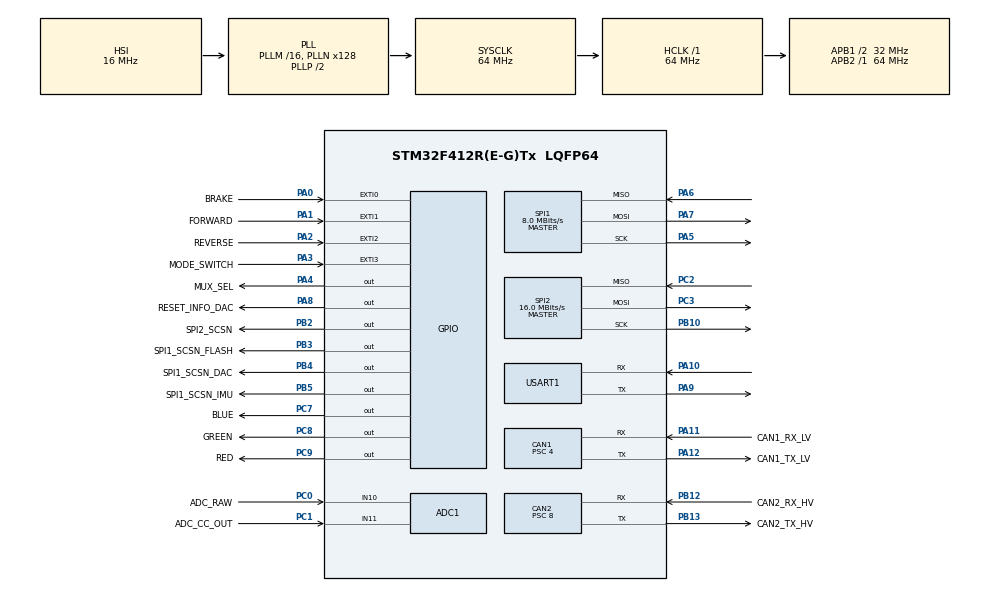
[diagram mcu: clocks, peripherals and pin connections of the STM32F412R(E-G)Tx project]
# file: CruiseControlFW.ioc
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ADC1.Channel-2\#ChannelRegularConversion=ADC_CHANNEL_10
ADC1.Channel-3\#ChannelRegularConversion=ADC_CHANNEL_11
ADC1.ContinuousConvMode=DISABLE
ADC1.EnableAnalogWatchDog=false
ADC1.InjNumberOfConversion=0
ADC1.NbrOfConversion=2
ADC1.NbrOfConversionFlag=1
ADC1.Rank-2\#ChannelRegularConversion=1
ADC1.Rank-3\#ChannelRegularConversion=2
ADC1.SamplingTime-2\#ChannelRegularConversion=ADC_SAMPLETIME_144CYCLES
ADC1.SamplingTime-3\#ChannelRegularConversion=ADC_SAMPLETIME_144CYCLES
ADC1.ScanConvMode=ENABLE
ADC1.master=1
CAN1.BS1=CAN_BS1_13TQ
CAN1.BS2=CAN_BS2_2TQ
CAN1.CalculateBaudRate=500000
CAN1.CalculateTimeBit=2000
CAN1.CalculateTimeQuantum=125.0
CAN1.Prescaler=4
CAN2.BS1=CAN_BS1_13TQ
CAN2.BS2=CAN_BS2_2TQ
CAN2.CalculateBaudRate=250000
CAN2.CalculateTimeBit=4000
CAN2.CalculateTimeQuantum=250.0
CAN2.Prescaler=8
Dma.Request0=USART1_RX
Dma.USART1_RX.0.Direction=DMA_PERIPH_TO_MEMORY
Dma.USART1_RX.0.FIFOMode=DMA_FIFOMODE_DISABLE
Dma.USART1_RX.0.Instance=DMA2_Stream2
Dma.USART1_RX.0.MemDataAlignment=DMA_MDATAALIGN_BYTE
Dma.USART1_RX.0.MemInc=DMA_MINC_ENABLE
Dma.USART1_RX.0.Mode=DMA_CIRCULAR
Dma.USART1_RX.0.PeriphDataAlignment=DMA_PDATAALIGN_BYTE
Dma.USART1_RX.0.PeriphInc=DMA_PINC_DISABLE
Dma.USART1_RX.0.Priority=DMA_PRIORITY_LOW
IWDG.Reload=1999
Mcu.Family=STM32F4
Mcu.Name=STM32F412R(E-G)Tx
Mcu.Package=LQFP64
NVIC.CAN1_RX0_IRQn=true\:2\:0\:true\:false\:true\:true\:true\:true
NVIC.CAN1_RX1_IRQn=true\:2\:0\:true\:false\:true\:true\:true\:true
NVIC.CAN2_RX0_IRQn=true\:2\:0\:true\:false\:true\:true\:true\:true
NVIC.CAN2_RX1_IRQn=true\:2\:0\:true\:false\:true\:true\:true\:true
NVIC.DMA2_Stream2_IRQn=true\:3\:0\:true\:false\:true\:false\:true\:true
NVIC.EXTI0_IRQn=true\:0\:0\:true\:false\:true\:true\:true\:true
NVIC.EXTI1_IRQn=true\:1\:0\:true\:false\:true\:true\:true\:true
NVIC.EXTI2_IRQn=true\:1\:0\:true\:false\:true\:true\:true\:true
NVIC.PriorityGroup=NVIC_PRIORITYGROUP_4
NVIC.USART1_IRQn=true\:3\:0\:true\:false\:true\:true\:true\:true
PA0.GPIO_Label=BRAKE
PA0.GPIO_ModeDefaultEXTI=GPIO_MODE_IT_RISING
PA0.Signal=GPXTI0
PA1.GPIO_Label=FORWARD
PA1.GPIO_ModeDefaultEXTI=GPIO_MODE_IT_FALLING
PA1.Signal=GPXTI1
PA10.Mode=Asynchronous
PA10.Signal=USART1_RX
PA11.GPIO_Label=CAN1_RX_LV
PA11.Mode=CAN_Activate
PA11.Signal=CAN1_RX
PA12.GPIO_Label=CAN1_TX_LV
PA12.Mode=CAN_Activate
PA12.Signal=CAN1_TX
PA13.Mode=Serial_Wire
PA13.Signal=SYS_JTMS-SWDIO
PA14.Mode=Serial_Wire
PA14.Signal=SYS_JTCK-SWCLK
PA2.GPIO_Label=REVERSE
PA2.GPIO_ModeDefaultEXTI=GPIO_MODE_IT_RISING
PA2.Signal=GPXTI2
PA3.GPIO_Label=MODE_SWITCH
PA3.GPIO_ModeDefaultEXTI=GPIO_MODE_IT_RISING
PA3.Signal=GPXTI3
PA4.GPIO_Label=MUX_SEL
PA4.Signal=GPIO_Output
PA5.GPIO_Speed=GPIO_SPEED_FREQ_MEDIUM
PA5.Mode=Full_Duplex_Master
PA5.Signal=SPI1_SCK
PA6.GPIO_Speed=GPIO_SPEED_FREQ_MEDIUM
PA6.Mode=Full_Duplex_Master
PA6.Signal=SPI1_MISO
PA7.GPIO_Speed=GPIO_SPEED_FREQ_MEDIUM
PA7.Mode=Full_Duplex_Master
PA7.Signal=SPI1_MOSI
PA8.GPIO_Label=RESET_INFO_DAC
PA8.GPIO_Speed=GPIO_SPEED_FREQ_LOW
PA8.PinState=GPIO_PIN_SET
PA8.Signal=GPIO_Output
PA9.Mode=Asynchronous
PA9.Signal=USART1_TX
PB10.GPIO_Speed=GPIO_SPEED_FREQ_MEDIUM
PB10.Mode=Full_Duplex_Master
PB10.Signal=SPI2_SCK
PB12.GPIO_Label=CAN2_RX_HV
PB12.Mode=CAN_Activate
PB12.Signal=CAN2_RX
PB13.GPIO_Label=CAN2_TX_HV
PB13.Mode=CAN_Activate
PB13.Signal=CAN2_TX
PB2.GPIO_Label=SPI2_SCSN
PB2.GPIO_Speed=GPIO_SPEED_FREQ_MEDIUM
PB2.Signal=GPIO_Output
PB3.GPIO_Label=SPI1_SCSN_FLASH
PB3.GPIO_Speed=GPIO_SPEED_FREQ_MEDIUM
PB3.PinState=GPIO_PIN_SET
PB3.Signal=GPIO_Output
PB4.GPIO_Label=SPI1_SCSN_DAC
PB4.GPIO_Speed=GPIO_SPEED_FREQ_MEDIUM
PB4.PinState=GPIO_PIN_SET
PB4.Signal=GPIO_Output
PB5.GPIO_Label=SPI1_SCSN_IMU
PB5.GPIO_Speed=GPIO_SPEED_FREQ_MEDIUM
PB5.PinState=GPIO_PIN_SET
PB5.Signal=GPIO_Output
PC0.GPIO_Label=ADC_RAW
PC0.Signal=ADCx_IN10
PC1.GPIO_Label=ADC_CC_OUT
PC1.Signal=ADCx_IN11
PC2.GPIO_Speed=GPIO_SPEED_FREQ_MEDIUM
PC2.Mode=Full_Duplex_Master
PC2.Signal=SPI2_MISO
PC3.GPIO_Speed=GPIO_SPEED_FREQ_MEDIUM
PC3.Mode=Full_Duplex_Master
PC3.Signal=SPI2_MOSI
PC7.GPIO_Label=BLUE
PC7.PinState=GPIO_PIN_SET
PC7.Signal=GPIO_Output
PC8.GPIO_Label=GREEN
PC8.PinState=GPIO_PIN_SET
PC8.Signal=GPIO_Output
PC9.GPIO_Label=RED
PC9.PinState=GPIO_PIN_SET
PC9.Signal=GPIO_Output
ProjectManager.HeapSize=0x200
ProjectManager.StackSize=0x400
ProjectManager.TargetToolchain=STM32CubeIDE
RCC.AHBFreq_Value=64000000
RCC.APB1CLKDivider=RCC_HCLK_DIV2
RCC.APB1Freq_Value=32000000
RCC.APB1TimFreq_Value=64000000
RCC.APB2Freq_Value=64000000
RCC.APB2TimFreq_Value=64000000
RCC.CortexFreq_Value=64000000
RCC.HCLKFreq_Value=64000000
RCC.PLLN=128
RCC.SYSCLKFreq_VALUE=64000000
RCC.SYSCLKSource=RCC_SYSCLKSOURCE_PLLCLK
RCC.USBFreq_Value=64000000
RCC.VCOOutputFreq_Value=128000000
SH.ADCx_IN10.0=ADC1_IN10,IN10
SH.ADCx_IN11.0=ADC1_IN11,IN11
SPI1.BaudRatePrescaler=SPI_BAUDRATEPRESCALER_8
SPI1.CLKPolarity=SPI_POLARITY_LOW
SPI1.CalculateBaudRate=8.0 MBits/s
SPI1.Direction=SPI_DIRECTION_2LINES
SPI1.Mode=SPI_MODE_MASTER
SPI1.VirtualType=VM_MASTER
SPI2.BaudRatePrescaler=SPI_BAUDRATEPRESCALER_2
SPI2.CLKPhase=SPI_PHASE_2EDGE
SPI2.CalculateBaudRate=16.0 MBits/s
SPI2.Direction=SPI_DIRECTION_2LINES
SPI2.Mode=SPI_MODE_MASTER
SPI2.VirtualType=VM_MASTER
TIM2.Prescaler=63
USART1.VirtualMode=VM_ASYNC
VP_IWDG_VS_IWDG.Mode=IWDG_Activate
VP_TIM2_VS_ClockSourceINT.Mode=Internal
board=custom

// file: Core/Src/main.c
/* USER CODE BEGIN Header */
/**
  ******************************************************************************
  * @file           : main.c
  * @brief          : Main program body
  ******************************************************************************
  * @attention
  *
  * Copyright (c) 2026 STMicroelectronics.
  * All rights reserved.
  *
  * This software is licensed under terms that can be found in the LICENSE file
  * in the root directory of this software component.
  * If no LICENSE file comes with this software, it is provided AS-IS.
  *
  ******************************************************************************
  */
/* USER CODE END Header */
#include "main.h"

/* USER CODE BEGIN Includes */
#include "cc_state.h"
#include "cc_inputs.h"
#include "cc_control.h"
#include "sys_uart.h"
#include "sys_can.h"
#include "can_dispatch.h"
#include "sys_flash.h"
#include "sys_cc_dac.h"
#include "sys_info_dac.h"
#include "sys_imu.h"
#include "sys_time.h"
#include "sys_wdg.h"
#include "cli.h"
#include "vehicle_data.h"
#include "cc_gradient.h"
#include "po_optimizer.h"

/* USER CODE END Includes */

/* USER CODE BEGIN PTD */

/* Init progress, readable in the debugger. A halt leaves the failing stage in initStage. */
typedef enum {
  STAGE_PERIPHERALS = 0,   /* Also the value if a CubeMX peripheral init failed. */
  STAGE_UART,
  STAGE_CAN,
  STAGE_FLASH,
  STAGE_CC_DAC,
  STAGE_INFO_DAC,
  STAGE_IMU,
  STAGE_CLI,
  STAGE_CC_INPUTS,
  STAGE_RUNNING            /* All inits passed; the main loop stays on this value. */
} initStage_t;

/* USER CODE END PTD */

/* USER CODE BEGIN PD */

#define INIT_STEP(stage, call) \
  do { initStage = (stage); sys_feedWdg(); if (!(call)) { Error_Handler(); } } while (0)

/* USER CODE END PD */

ADC_HandleTypeDef hadc1;

CAN_HandleTypeDef hcan1;
CAN_HandleTypeDef hcan2;

IWDG_HandleTypeDef hiwdg;

SPI_HandleTypeDef hspi1;
SPI_HandleTypeDef hspi2;

TIM_HandleTypeDef htim2;

UART_HandleTypeDef huart1;
DMA_HandleTypeDef hdma_usart1_rx;

/* USER CODE BEGIN PV */

volatile initStage_t initStage = STAGE_PERIPHERALS;

/* TRUE if the last reset was the watchdog. */
volatile uint8_t resetByWatchdog = FALSE;

/* Written only from the main loop. */
static vehicle_data_t vehicle_data;

/* UTC clock, anchored by GPS time. Declared extern in sys_time.h. */
wall_clock_t wall_clock;

/* Active-high: BRAKE, FORWARD, REVERSE and MODE_SWITCH (HI = pressed). */
static const cc_inputs_config_t cc_input_config = {
    .mode_active_level = CC_INPUT_ACTIVE_HIGH,
    .brake_active_level = CC_INPUT_ACTIVE_HIGH,
    .forward_active_level = CC_INPUT_ACTIVE_HIGH,
    .reverse_active_level = CC_INPUT_ACTIVE_HIGH,
    .forward_rule = CC_FORWARD_REQUIRED,
    .mode_button_enabled = TRUE,
    .mode_debounce_ms = 20U
};

/* USER CODE END PV */

void SystemClock_Config(void);
static void MX_GPIO_Init(void);
static void MX_DMA_Init(void);
static void MX_CAN1_Init(void);
static void MX_CAN2_Init(void);
static void MX_SPI1_Init(void);
static void MX_SPI2_Init(void);
static void MX_TIM2_Init(void);
static void MX_USART1_UART_Init(void);
static void MX_ADC1_Init(void);
static void MX_IWDG_Init(void);

int main(void)
{

  /* MCU Configuration--------------------------------------------------------*/

  /* Reset of all peripherals, Initializes the Flash interface and the Systick. */
  HAL_Init();

  /* USER CODE BEGIN Init */
  resetByWatchdog = __HAL_RCC_GET_FLAG(RCC_FLAG_IWDGRST) ? TRUE : FALSE;
  __HAL_RCC_CLEAR_RESET_FLAGS();
  /* USER CODE END Init */

  /* Configure the system clock */
  SystemClock_Config();

  /* USER CODE BEGIN SysInit */
  /* Stop the watchdog counting while halted in the debugger. */
  __HAL_DBGMCU_FREEZE_IWDG();
  /* USER CODE END SysInit */

  /* Initialize all configured peripherals */
  MX_GPIO_Init();
  MX_DMA_Init();
  MX_CAN1_Init();
  MX_CAN2_Init();
  MX_SPI1_Init();
  MX_SPI2_Init();
  MX_TIM2_Init();
  MX_USART1_UART_Init();
  MX_ADC1_Init();
  MX_IWDG_Init();
  /* USER CODE BEGIN 2 */
  INIT_STEP(STAGE_UART, sys_uartInit());
  INIT_STEP(STAGE_CAN, sys_canInit());
  INIT_STEP(STAGE_FLASH, sys_flashInit());
  INIT_STEP(STAGE_CC_DAC, sys_ccDacInit());
  INIT_STEP(STAGE_INFO_DAC, sys_infoDacInit());
  INIT_STEP(STAGE_IMU, sys_imuInit());
  if (resetByWatchdog) {
    CLI_Print("Reset: watchdog\r\n");
  }
  INIT_STEP(STAGE_CLI, CLI_Init());
  vehicle_data_init(&vehicle_data);
  /* TODO: Pass a static route table once device IDs and handlers are verified. */
  can_dispatch_init(NULL, 0U);
  sys_wallClockInit(&wall_clock);
  cc_gradient_init();
  cc_state_init();            // Initialize cc state
  cc_control_init();
  po_optimizer_init();
  INIT_STEP(STAGE_CC_INPUTS, cc_inputs_init(&cc_input_config));
  initStage = STAGE_RUNNING;

  /* USER CODE END 2 */

  /* Infinite loop */
  while (1)
  {

    /* USER CODE BEGIN 3 */
    cc_control_service();

    (void)can_dispatch_process(&vehicle_data);
    cc_gradient_update(&vehicle_data);
    const uint32_t now_ms = sys_getTimeMs();
    float measured_speed_mps = vehicle_data.current_speed.value;
    uint8_t speed_valid = validate_cc_data(&vehicle_data, now_ms);
    po_optimizer_update(&vehicle_data, now_ms);

    /* The CLI test stub, when on, replaces the real speed (dry run). */
    float test_speed_mps;
    if (cc_control_speed(&test_speed_mps)) {
        measured_speed_mps = test_speed_mps;
        speed_valid = TRUE;
    }

    cc_inputs_t inputs = cc_inputs_update();
    cc_state_update(inputs.mode_pressed,
                    inputs.cruise_allowed && speed_valid);
    cc_control_update(cc_state_get(), measured_speed_mps, speed_valid);

    CLI_Process();

    /* Once per pass, only after everything above has run. */
    sys_feedWdg();
  }
  /* USER CODE END 3 */
}

void SystemClock_Config(void)
{
  RCC_OscInitTypeDef RCC_OscInitStruct = {0};
  RCC_ClkInitTypeDef RCC_ClkInitStruct = {0};

  /** Configure the main internal regulator output voltage
  */
  __HAL_RCC_PWR_CLK_ENABLE();
  __HAL_PWR_VOLTAGESCALING_CONFIG(PWR_REGULATOR_VOLTAGE_SCALE1);

  /** Initializes the RCC Oscillators according to the specified parameters
  * in the RCC_OscInitTypeDef structure.
  */
  RCC_OscInitStruct.OscillatorType = RCC_OSCILLATORTYPE_HSI|RCC_OSCILLATORTYPE_LSI;
  RCC_OscInitStruct.HSIState = RCC_HSI_ON;
  RCC_OscInitStruct.HSICalibrationValue = RCC_HSICALIBRATION_DEFAULT;
  RCC_OscInitStruct.LSIState = RCC_LSI_ON;
  RCC_OscInitStruct.PLL.PLLState = RCC_PLL_ON;
  RCC_OscInitStruct.PLL.PLLSource = RCC_PLLSOURCE_HSI;
  RCC_OscInitStruct.PLL.PLLM = 16;
  RCC_OscInitStruct.PLL.PLLN = 128;
  RCC_OscInitStruct.PLL.PLLP = RCC_PLLP_DIV2;
  RCC_OscInitStruct.PLL.PLLQ = 2;
  RCC_OscInitStruct.PLL.PLLR = 2;
  if (HAL_RCC_OscConfig(&RCC_OscInitStruct) != HAL_OK)
  {
    Error_Handler();
  }

  /** Initializes the CPU, AHB and APB buses clocks
  */
  RCC_ClkInitStruct.ClockType = RCC_CLOCKTYPE_HCLK|RCC_CLOCKTYPE_SYSCLK
                              |RCC_CLOCKTYPE_PCLK1|RCC_CLOCKTYPE_PCLK2;
  RCC_ClkInitStruct.SYSCLKSource = RCC_SYSCLKSOURCE_PLLCLK;
  RCC_ClkInitStruct.AHBCLKDivider = RCC_SYSCLK_DIV1;
  RCC_ClkInitStruct.APB1CLKDivider = RCC_HCLK_DIV2;
  RCC_ClkInitStruct.APB2CLKDivider = RCC_HCLK_DIV1;

  if (HAL_RCC_ClockConfig(&RCC_ClkInitStruct, FLASH_LATENCY_1) != HAL_OK)
  {
    Error_Handler();
  }
}

static void MX_ADC1_Init(void)
{

  ADC_ChannelConfTypeDef sConfig = {0};

  /** Configure the global features of the ADC (Clock, Resolution, Data Alignment and number of conversion)
  */
  hadc1.Instance = ADC1;
  hadc1.Init.ClockPrescaler = ADC_CLOCK_SYNC_PCLK_DIV2;
  hadc1.Init.Resolution = ADC_RESOLUTION_12B;
  hadc1.Init.ScanConvMode = ENABLE;
  hadc1.Init.ContinuousConvMode = DISABLE;
  hadc1.Init.DiscontinuousConvMode = DISABLE;
  hadc1.Init.ExternalTrigConvEdge = ADC_EXTERNALTRIGCONVEDGE_NONE;
  hadc1.Init.ExternalTrigConv = ADC_SOFTWARE_START;
  hadc1.Init.DataAlign = ADC_DATAALIGN_RIGHT;
  hadc1.Init.NbrOfConversion = 2;
  hadc1.Init.DMAContinuousRequests = DISABLE;
  hadc1.Init.EOCSelection = ADC_EOC_SINGLE_CONV;
  if (HAL_ADC_Init(&hadc1) != HAL_OK)
  {
    Error_Handler();
  }

  /** Configure for the selected ADC regular channel its corresponding rank in the sequencer and its sample time.
  */
  sConfig.Channel = ADC_CHANNEL_10;
  sConfig.Rank = 1;
  sConfig.SamplingTime = ADC_SAMPLETIME_144CYCLES;
  if (HAL_ADC_ConfigChannel(&hadc1, &sConfig) != HAL_OK)
  {
    Error_Handler();
  }

  /** Configure for the selected ADC regular channel its corresponding rank in the sequencer and its sample time.
  */
  sConfig.Channel = ADC_CHANNEL_11;
  sConfig.Rank = 2;
  if (HAL_ADC_ConfigChannel(&hadc1, &sConfig) != HAL_OK)
  {
    Error_Handler();
  }

}

static void MX_CAN1_Init(void)
{

  hcan1.Instance = CAN1;
  hcan1.Init.Prescaler = 4;
  hcan1.Init.Mode = CAN_MODE_NORMAL;
  hcan1.Init.SyncJumpWidth = CAN_SJW_1TQ;
  hcan1.Init.TimeSeg1 = CAN_BS1_13TQ;
  hcan1.Init.TimeSeg2 = CAN_BS2_2TQ;
  hcan1.Init.TimeTriggeredMode = DISABLE;
  hcan1.Init.AutoBusOff = DISABLE;
  hcan1.Init.AutoWakeUp = DISABLE;
  hcan1.Init.AutoRetransmission = DISABLE;
  hcan1.Init.ReceiveFifoLocked = DISABLE;
  hcan1.Init.TransmitFifoPriority = DISABLE;
  if (HAL_CAN_Init(&hcan1) != HAL_OK)
  {
    Error_Handler();
  }

}

static void MX_CAN2_Init(void)
{

  hcan2.Instance = CAN2;
  hcan2.Init.Prescaler = 8;
  hcan2.Init.Mode = CAN_MODE_NORMAL;
  hcan2.Init.SyncJumpWidth = CAN_SJW_1TQ;
  hcan2.Init.TimeSeg1 = CAN_BS1_13TQ;
  hcan2.Init.TimeSeg2 = CAN_BS2_2TQ;
  hcan2.Init.TimeTriggeredMode = DISABLE;
  hcan2.Init.AutoBusOff = DISABLE;
  hcan2.Init.AutoWakeUp = DISABLE;
  hcan2.Init.AutoRetransmission = DISABLE;
  hcan2.Init.ReceiveFifoLocked = DISABLE;
  hcan2.Init.TransmitFifoPriority = DISABLE;
  if (HAL_CAN_Init(&hcan2) != HAL_OK)
  {
    Error_Handler();
  }

}

static void MX_IWDG_Init(void)
{

  hiwdg.Instance = IWDG;
  hiwdg.Init.Prescaler = IWDG_PRESCALER_4;
  hiwdg.Init.Reload = 1999;
  if (HAL_IWDG_Init(&hiwdg) != HAL_OK)
  {
    Error_Handler();
  }

}

static void MX_SPI1_Init(void)
{

  /* SPI1 parameter configuration*/
  hspi1.Instance = SPI1;
  hspi1.Init.Mode = SPI_MODE_MASTER;
  hspi1.Init.Direction = SPI_DIRECTION_2LINES;
  hspi1.Init.DataSize = SPI_DATASIZE_8BIT;
  hspi1.Init.CLKPolarity = SPI_POLARITY_LOW;
  hspi1.Init.CLKPhase = SPI_PHASE_1EDGE;
  hspi1.Init.NSS = SPI_NSS_SOFT;
  hspi1.Init.BaudRatePrescaler = SPI_BAUDRATEPRESCALER_8;
  hspi1.Init.FirstBit = SPI_FIRSTBIT_MSB;
  hspi1.Init.TIMode = SPI_TIMODE_DISABLE;
  hspi1.Init.CRCCalculation = SPI_CRCCALCULATION_DISABLE;
  hspi1.Init.CRCPolynomial = 10;
  if (HAL_SPI_Init(&hspi1) != HAL_OK)
  {
    Error_Handler();
  }

}

static void MX_SPI2_Init(void)
{

  /* SPI2 parameter configuration*/
  hspi2.Instance = SPI2;
  hspi2.Init.Mode = SPI_MODE_MASTER;
  hspi2.Init.Direction = SPI_DIRECTION_2LINES;
  hspi2.Init.DataSize = SPI_DATASIZE_8BIT;
  hspi2.Init.CLKPolarity = SPI_POLARITY_LOW;
  hspi2.Init.CLKPhase = SPI_PHASE_2EDGE;
  hspi2.Init.NSS = SPI_NSS_SOFT;
  hspi2.Init.BaudRatePrescaler = SPI_BAUDRATEPRESCALER_2;
  hspi2.Init.FirstBit = SPI_FIRSTBIT_MSB;
  hspi2.Init.TIMode = SPI_TIMODE_DISABLE;
  hspi2.Init.CRCCalculation = SPI_CRCCALCULATION_DISABLE;
  hspi2.Init.CRCPolynomial = 10;
  if (HAL_SPI_Init(&hspi2) != HAL_OK)
  {
    Error_Handler();
  }

}

static void MX_TIM2_Init(void)
{

  TIM_ClockConfigTypeDef sClockSourceConfig = {0};
  TIM_MasterConfigTypeDef sMasterConfig = {0};

  htim2.Instance = TIM2;
  htim2.Init.Prescaler = 63;
  htim2.Init.CounterMode = TIM_COUNTERMODE_UP;
  htim2.Init.Period = 4294967295;
  htim2.Init.ClockDivision = TIM_CLOCKDIVISION_DIV1;
  htim2.Init.AutoReloadPreload = TIM_AUTORELOAD_PRELOAD_DISABLE;
  if (HAL_TIM_Base_Init(&htim2) != HAL_OK)
  {
    Error_Handler();
  }
  sClockSourceConfig.ClockSource = TIM_CLOCKSOURCE_INTERNAL;
  if (HAL_TIM_ConfigClockSource(&htim2, &sClockSourceConfig) != HAL_OK)
  {
    Error_Handler();
  }
  sMasterConfig.MasterOutputTrigger = TIM_TRGO_RESET;
  sMasterConfig.MasterSlaveMode = TIM_MASTERSLAVEMODE_DISABLE;
  if (HAL_TIMEx_MasterConfigSynchronization(&htim2, &sMasterConfig) != HAL_OK)
  {
    Error_Handler();
  }
  /* USER CODE BEGIN TIM2_Init 2 */
  HAL_TIM_Base_Start(&htim2);
  /* USER CODE END TIM2_Init 2 */

}

static void MX_USART1_UART_Init(void)
{

  huart1.Instance = USART1;
  huart1.Init.BaudRate = 115200;
  huart1.Init.WordLength = UART_WORDLENGTH_8B;
  huart1.Init.StopBits = UART_STOPBITS_1;
  huart1.Init.Parity = UART_PARITY_NONE;
  huart1.Init.Mode = UART_MODE_TX_RX;
  huart1.Init.HwFlowCtl = UART_HWCONTROL_NONE;
  huart1.Init.OverSampling = UART_OVERSAMPLING_16;
  if (HAL_UART_Init(&huart1) != HAL_OK)
  {
    Error_Handler();
  }

}

static void MX_DMA_Init(void)
{

  /* DMA controller clock enable */
  __HAL_RCC_DMA2_CLK_ENABLE();

  /* DMA interrupt init */
  /* DMA2_Stream2_IRQn interrupt configuration */
  HAL_NVIC_SetPriority(DMA2_Stream2_IRQn, 3, 0);
  HAL_NVIC_EnableIRQ(DMA2_Stream2_IRQn);

}

static void MX_GPIO_Init(void)
{
  GPIO_InitTypeDef GPIO_InitStruct = {0};

  /* GPIO Ports Clock Enable */
  __HAL_RCC_GPIOC_CLK_ENABLE();
  __HAL_RCC_GPIOA_CLK_ENABLE();
  __HAL_RCC_GPIOB_CLK_ENABLE();

  /*Configure GPIO pin Output Level */
  HAL_GPIO_WritePin(MUX_SEL_GPIO_Port, MUX_SEL_Pin, GPIO_PIN_RESET);

  /*Configure GPIO pin Output Level */
  HAL_GPIO_WritePin(SPI2_SCSN_GPIO_Port, SPI2_SCSN_Pin, GPIO_PIN_RESET);

  /*Configure GPIO pin Output Level */
  HAL_GPIO_WritePin(GPIOC, BLUE_Pin|GREEN_Pin|RED_Pin, GPIO_PIN_SET);

  /*Configure GPIO pin Output Level */
  HAL_GPIO_WritePin(RESET_INFO_DAC_GPIO_Port, RESET_INFO_DAC_Pin, GPIO_PIN_SET);

  /*Configure GPIO pin Output Level */
  HAL_GPIO_WritePin(GPIOB, SPI1_SCSN_FLASH_Pin|SPI1_SCSN_DAC_Pin|SPI1_SCSN_IMU_Pin, GPIO_PIN_SET);

  /*Configure GPIO pins : BRAKE_Pin REVERSE_Pin MODE_SWITCH_Pin */
  GPIO_InitStruct.Pin = BRAKE_Pin|REVERSE_Pin|MODE_SWITCH_Pin;
  GPIO_InitStruct.Mode = GPIO_MODE_IT_RISING;
  GPIO_InitStruct.Pull = GPIO_NOPULL;
  HAL_GPIO_Init(GPIOA, &GPIO_InitStruct);

  /*Configure GPIO pin : FORWARD_Pin */
  GPIO_InitStruct.Pin = FORWARD_Pin;
  GPIO_InitStruct.Mode = GPIO_MODE_IT_FALLING;
  GPIO_InitStruct.Pull = GPIO_NOPULL;
  HAL_GPIO_Init(FORWARD_GPIO_Port, &GPIO_InitStruct);

  /*Configure GPIO pins : MUX_SEL_Pin RESET_INFO_DAC_Pin */
  GPIO_InitStruct.Pin = MUX_SEL_Pin|RESET_INFO_DAC_Pin;
  GPIO_InitStruct.Mode = GPIO_MODE_OUTPUT_PP;
  GPIO_InitStruct.Pull = GPIO_NOPULL;
  GPIO_InitStruct.Speed = GPIO_SPEED_FREQ_LOW;
  HAL_GPIO_Init(GPIOA, &GPIO_InitStruct);

  /*Configure GPIO pins : SPI2_SCSN_Pin SPI1_SCSN_FLASH_Pin SPI1_SCSN_DAC_Pin SPI1_SCSN_IMU_Pin */
  GPIO_InitStruct.Pin = SPI2_SCSN_Pin|SPI1_SCSN_FLASH_Pin|SPI1_SCSN_DAC_Pin|SPI1_SCSN_IMU_Pin;
  GPIO_InitStruct.Mode = GPIO_MODE_OUTPUT_PP;
  GPIO_InitStruct.Pull = GPIO_NOPULL;
  GPIO_InitStruct.Speed = GPIO_SPEED_FREQ_MEDIUM;
  HAL_GPIO_Init(GPIOB, &GPIO_InitStruct);

  /*Configure GPIO pins : BLUE_Pin GREEN_Pin RED_Pin */
  GPIO_InitStruct.Pin = BLUE_Pin|GREEN_Pin|RED_Pin;
  GPIO_InitStruct.Mode = GPIO_MODE_OUTPUT_PP;
  GPIO_InitStruct.Pull = GPIO_NOPULL;
  GPIO_InitStruct.Speed = GPIO_SPEED_FREQ_LOW;
  HAL_GPIO_Init(GPIOC, &GPIO_InitStruct);

  /* EXTI interrupt init*/
  HAL_NVIC_SetPriority(EXTI0_IRQn, 0, 0);
  HAL_NVIC_EnableIRQ(EXTI0_IRQn);

  HAL_NVIC_SetPriority(EXTI1_IRQn, 1, 0);
  HAL_NVIC_EnableIRQ(EXTI1_IRQn);

  HAL_NVIC_SetPriority(EXTI2_IRQn, 1, 0);
  HAL_NVIC_EnableIRQ(EXTI2_IRQn);

}

void Error_Handler(void)
{
  __disable_irq();
  while (1)
  {
  }
}
